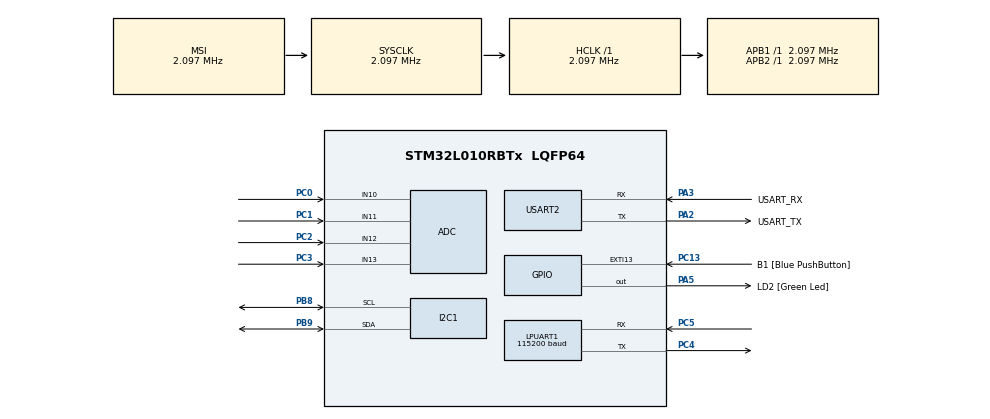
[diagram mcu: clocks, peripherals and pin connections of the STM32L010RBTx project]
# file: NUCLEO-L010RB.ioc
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Dma.Request0=USART2_RX
Dma.Request1=USART2_TX
Dma.USART2_RX.0.Direction=DMA_PERIPH_TO_MEMORY
Dma.USART2_RX.0.Instance=DMA1_Channel5
Dma.USART2_RX.0.MemDataAlignment=DMA_MDATAALIGN_BYTE
Dma.USART2_RX.0.MemInc=DMA_MINC_ENABLE
Dma.USART2_RX.0.Mode=DMA_NORMAL
Dma.USART2_RX.0.PeriphDataAlignment=DMA_PDATAALIGN_BYTE
Dma.USART2_RX.0.PeriphInc=DMA_PINC_DISABLE
Dma.USART2_RX.0.Priority=DMA_PRIORITY_LOW
Dma.USART2_TX.1.Direction=DMA_MEMORY_TO_PERIPH
Dma.USART2_TX.1.Instance=DMA1_Channel4
Dma.USART2_TX.1.MemDataAlignment=DMA_MDATAALIGN_BYTE
Dma.USART2_TX.1.MemInc=DMA_MINC_ENABLE
Dma.USART2_TX.1.Mode=DMA_NORMAL
Dma.USART2_TX.1.PeriphDataAlignment=DMA_PDATAALIGN_BYTE
Dma.USART2_TX.1.PeriphInc=DMA_PINC_DISABLE
Dma.USART2_TX.1.Priority=DMA_PRIORITY_LOW
LPUART1.BaudRate=115200
LPUART1.OneBitSampling=UART_ONE_BIT_SAMPLE_DISABLE
LPUART1.WordLength=UART_WORDLENGTH_8B
Mcu.Family=STM32L0
Mcu.Name=STM32L010RBTx
Mcu.Package=LQFP64
NVIC.DMA1_Channel4_5_6_7_IRQn=true\:0\:0\:false\:false\:true\:false\:true
NVIC.I2C1_IRQn=true\:0\:0\:false\:false\:true\:true\:true
NVIC.USART2_IRQn=true\:0\:0\:false\:false\:true\:true\:true
PA13.GPIO_Label=TMS
PA13.Mode=Serial_Wire
PA13.Signal=SYS_SWDIO
PA14.GPIO_Label=TCK
PA14.Mode=Serial_Wire
PA14.Signal=SYS_SWCLK
PA2.GPIO_Label=USART_TX
PA2.Mode=Asynchronous
PA2.Signal=USART2_TX
PA3.GPIO_Label=USART_RX
PA3.Mode=Asynchronous
PA3.Signal=USART2_RX
PA5.GPIO_Label=LD2 [Green Led]
PA5.Signal=GPIO_Output
PB10.Signal=S_TIM2_CH3
PB3.Signal=S_TIM2_CH2
PB4.Signal=S_TIM22_CH1
PB8.Mode=I2C
PB8.Signal=I2C1_SCL
PB9.Mode=I2C
PB9.Signal=I2C1_SDA
PC0.Mode=IN10
PC0.Signal=ADC_IN10
PC1.Mode=IN11
PC1.Signal=ADC_IN11
PC13.GPIO_Label=B1 [Blue PushButton]
PC13.GPIO_ModeDefaultEXTI=GPIO_MODE_IT_FALLING
PC13.Signal=GPXTI13
PC14-OSC32_IN.Mode=LSE-External-Oscillator
PC14-OSC32_IN.Signal=RCC_OSC32_IN
PC15-OSC32_OUT.Mode=LSE-External-Oscillator
PC15-OSC32_OUT.Signal=RCC_OSC32_OUT
PC2.Mode=IN12
PC2.Signal=ADC_IN12
PC3.Mode=IN13
PC3.Signal=ADC_IN13
PC4.Mode=Asynchronous
PC4.Signal=LPUART1_TX
PC5.Mode=Asynchronous
PC5.Signal=LPUART1_RX
PH0-OSC_IN.GPIO_Label=MCO
PH0-OSC_IN.Mode=HSE-External-Clock-Source
PH0-OSC_IN.Signal=RCC_OSC_IN
ProjectManager.HeapSize=0x200
ProjectManager.StackSize=0x400
ProjectManager.TargetToolchain=STM32CubeIDE
RCC.AHBFreq_Value=2097000
RCC.APB1Freq_Value=2097000
RCC.APB1TimFreq_Value=2097000
RCC.APB2Freq_Value=2097000
RCC.APB2TimFreq_Value=2097000
RCC.HSE_VALUE=8000000
RCC.HSI16_VALUE=16000000
RCC.HSI48_VALUE=48000000
RCC.HSI_VALUE=16000000
RCC.MSI_VALUE=2097000
RCC.SYSCLKFreq_VALUE=2097000
RCC.VCOOutputFreq_Value=48000000
SH.S_TIM22_CH1.0=TIM22_CH1
SH.S_TIM2_CH2.0=TIM2_CH2
SH.S_TIM2_CH3.0=TIM2_CH3
USART2.VirtualMode-Asynchronous=VM_ASYNC
board=NUCLEO-L010RB

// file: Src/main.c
/* USER CODE BEGIN Header */
/**
  ******************************************************************************
  * @file           : main.c
  * @brief          : Main program body
  ******************************************************************************
  * @attention
  *
  * <h2><center>&copy; Copyright (c) 2019 STMicroelectronics.
  * All rights reserved.</center></h2>
  *
  * This software component is licensed by ST under BSD 3-Clause license,
  * the "License"; You may not use this file except in compliance with the
  * License. You may obtain a copy of the License at:
  *                        opensource.org/licenses/BSD-3-Clause
  *
  ******************************************************************************
  */
/* USER CODE END Header */

#include "main.h"
#include "stdio.h"

/* USER CODE BEGIN PD */
#ifdef __GNUC__
#define PUTCHAR_PROTOTYPE int __io_putchar(int ch)
#else
#define PUTCHAR_PROTOTYPE int fputc(int ch, FILE*f)
#endif
/* USER CODE END PD */

ADC_HandleTypeDef hadc;

I2C_HandleTypeDef hi2c1;

UART_HandleTypeDef hlpuart1;
UART_HandleTypeDef huart2;
DMA_HandleTypeDef hdma_usart2_rx;
DMA_HandleTypeDef hdma_usart2_tx;

/* USER CODE BEGIN PV */
HAL_StatusTypeDef uart_statu;
uint8_t uart_data[10];
uint32_t rev_size = 0;
uint8_t uart_rx_buf[15];
/* USER CODE END PV */

void SystemClock_Config(void);
static void MX_GPIO_Init(void);
static void MX_DMA_Init(void);
static void MX_USART2_UART_Init(void);
static void MX_ADC_Init(void);
static void MX_I2C1_Init(void);
static void MX_LPUART1_UART_Init(void);

/* USER CODE BEGIN 0 */
PUTCHAR_PROTOTYPE
{
	HAL_UART_Transmit(&huart2, (uint8_t *)&ch, 1, 0xFFFF);
	return ch;
}
/* USER CODE END 0 */

int main(void)
{

  /* MCU Configuration--------------------------------------------------------*/

  /* Reset of all peripherals, Initializes the Flash interface and the Systick. */
  HAL_Init();

  /* Configure the system clock */
  SystemClock_Config();

  /* Initialize all configured peripherals */
  MX_GPIO_Init();
  MX_DMA_Init();
  MX_USART2_UART_Init();
  MX_ADC_Init();
  MX_I2C1_Init();
  MX_LPUART1_UART_Init();
  /* USER CODE BEGIN 2 */

//  uart_statu = HAL_UART_Receive_IT(&huart2, uart_data, 1);

  printf("This is a test\n\r");

  HAL_UART_Receive_DMA(&huart2, uart_rx_buf, 15);
  /* USER CODE END 2 */

  /* Infinite loop */
  /* USER CODE BEGIN WHILE */
  while (1)
  {
//	  HAL_GPIO_TogglePin(LD2_GPIO_Port, LD2_Pin);
//	  HAL_Delay(5000);
    /* USER CODE END WHILE */

  }
}

void SystemClock_Config(void)
{
  RCC_OscInitTypeDef RCC_OscInitStruct = {0};
  RCC_ClkInitTypeDef RCC_ClkInitStruct = {0};
  RCC_PeriphCLKInitTypeDef PeriphClkInit = {0};

  /** Configure the main internal regulator output voltage
  */
  __HAL_PWR_VOLTAGESCALING_CONFIG(PWR_REGULATOR_VOLTAGE_SCALE1);
  /** Initializes the CPU, AHB and APB busses clocks
  */
  RCC_OscInitStruct.OscillatorType = RCC_OSCILLATORTYPE_MSI;
  RCC_OscInitStruct.MSIState = RCC_MSI_ON;
  RCC_OscInitStruct.MSICalibrationValue = 0;
  RCC_OscInitStruct.MSIClockRange = RCC_MSIRANGE_5;
  RCC_OscInitStruct.PLL.PLLState = RCC_PLL_NONE;
  if (HAL_RCC_OscConfig(&RCC_OscInitStruct) != HAL_OK)
  {
    Error_Handler();
  }
  /** Initializes the CPU, AHB and APB busses clocks
  */
  RCC_ClkInitStruct.ClockType = RCC_CLOCKTYPE_HCLK|RCC_CLOCKTYPE_SYSCLK
                              |RCC_CLOCKTYPE_PCLK1|RCC_CLOCKTYPE_PCLK2;
  RCC_ClkInitStruct.SYSCLKSource = RCC_SYSCLKSOURCE_MSI;
  RCC_ClkInitStruct.AHBCLKDivider = RCC_SYSCLK_DIV1;
  RCC_ClkInitStruct.APB1CLKDivider = RCC_HCLK_DIV1;
  RCC_ClkInitStruct.APB2CLKDivider = RCC_HCLK_DIV1;

  if (HAL_RCC_ClockConfig(&RCC_ClkInitStruct, FLASH_LATENCY_0) != HAL_OK)
  {
    Error_Handler();
  }
  PeriphClkInit.PeriphClockSelection = RCC_PERIPHCLK_USART2|RCC_PERIPHCLK_LPUART1
                              |RCC_PERIPHCLK_I2C1;
  PeriphClkInit.Usart2ClockSelection = RCC_USART2CLKSOURCE_PCLK1;
  PeriphClkInit.Lpuart1ClockSelection = RCC_LPUART1CLKSOURCE_PCLK1;
  PeriphClkInit.I2c1ClockSelection = RCC_I2C1CLKSOURCE_PCLK1;
  if (HAL_RCCEx_PeriphCLKConfig(&PeriphClkInit) != HAL_OK)
  {
    Error_Handler();
  }
}

static void MX_ADC_Init(void)
{

  ADC_ChannelConfTypeDef sConfig = {0};

  /** Configure the global features of the ADC (Clock, Resolution, Data Alignment and number of conversion)
  */
  hadc.Instance = ADC1;
  hadc.Init.OversamplingMode = DISABLE;
  hadc.Init.ClockPrescaler = ADC_CLOCK_SYNC_PCLK_DIV1;
  hadc.Init.Resolution = ADC_RESOLUTION_12B;
  hadc.Init.SamplingTime = ADC_SAMPLETIME_1CYCLE_5;
  hadc.Init.ScanConvMode = ADC_SCAN_DIRECTION_FORWARD;
  hadc.Init.DataAlign = ADC_DATAALIGN_RIGHT;
  hadc.Init.ContinuousConvMode = DISABLE;
  hadc.Init.DiscontinuousConvMode = DISABLE;
  hadc.Init.ExternalTrigConvEdge = ADC_EXTERNALTRIGCONVEDGE_NONE;
  hadc.Init.ExternalTrigConv = ADC_SOFTWARE_START;
  hadc.Init.DMAContinuousRequests = DISABLE;
  hadc.Init.EOCSelection = ADC_EOC_SINGLE_CONV;
  hadc.Init.Overrun = ADC_OVR_DATA_PRESERVED;
  hadc.Init.LowPowerAutoWait = DISABLE;
  hadc.Init.LowPowerFrequencyMode = DISABLE;
  hadc.Init.LowPowerAutoPowerOff = DISABLE;
  if (HAL_ADC_Init(&hadc) != HAL_OK)
  {
    Error_Handler();
  }
  /** Configure for the selected ADC regular channel to be converted.
  */
  sConfig.Channel = ADC_CHANNEL_10;
  sConfig.Rank = ADC_RANK_CHANNEL_NUMBER;
  if (HAL_ADC_ConfigChannel(&hadc, &sConfig) != HAL_OK)
  {
    Error_Handler();
  }
  /** Configure for the selected ADC regular channel to be converted.
  */
  sConfig.Channel = ADC_CHANNEL_11;
  if (HAL_ADC_ConfigChannel(&hadc, &sConfig) != HAL_OK)
  {
    Error_Handler();
  }
  /** Configure for the selected ADC regular channel to be converted.
  */
  sConfig.Channel = ADC_CHANNEL_12;
  if (HAL_ADC_ConfigChannel(&hadc, &sConfig) != HAL_OK)
  {
    Error_Handler();
  }
  /** Configure for the selected ADC regular channel to be converted.
  */
  sConfig.Channel = ADC_CHANNEL_13;
  if (HAL_ADC_ConfigChannel(&hadc, &sConfig) != HAL_OK)
  {
    Error_Handler();
  }

}

static void MX_I2C1_Init(void)
{

  hi2c1.Instance = I2C1;
  hi2c1.Init.Timing = 0x00000708;
  hi2c1.Init.OwnAddress1 = 0;
  hi2c1.Init.AddressingMode = I2C_ADDRESSINGMODE_7BIT;
  hi2c1.Init.DualAddressMode = I2C_DUALADDRESS_DISABLE;
  hi2c1.Init.OwnAddress2 = 0;
  hi2c1.Init.OwnAddress2Masks = I2C_OA2_NOMASK;
  hi2c1.Init.GeneralCallMode = I2C_GENERALCALL_DISABLE;
  hi2c1.Init.NoStretchMode = I2C_NOSTRETCH_DISABLE;
  if (HAL_I2C_Init(&hi2c1) != HAL_OK)
  {
    Error_Handler();
  }
  /** Configure Analogue filter
  */
  if (HAL_I2CEx_ConfigAnalogFilter(&hi2c1, I2C_ANALOGFILTER_ENABLE) != HAL_OK)
  {
    Error_Handler();
  }
  /** Configure Digital filter
  */
  if (HAL_I2CEx_ConfigDigitalFilter(&hi2c1, 0) != HAL_OK)
  {
    Error_Handler();
  }

}

static void MX_LPUART1_UART_Init(void)
{

  hlpuart1.Instance = LPUART1;
  hlpuart1.Init.BaudRate = 115200;
  hlpuart1.Init.WordLength = UART_WORDLENGTH_8B;
  hlpuart1.Init.StopBits = UART_STOPBITS_1;
  hlpuart1.Init.Parity = UART_PARITY_NONE;
  hlpuart1.Init.Mode = UART_MODE_TX_RX;
  hlpuart1.Init.HwFlowCtl = UART_HWCONTROL_NONE;
  hlpuart1.Init.OneBitSampling = UART_ONE_BIT_SAMPLE_DISABLE;
  hlpuart1.AdvancedInit.AdvFeatureInit = UART_ADVFEATURE_NO_INIT;
  if (HAL_UART_Init(&hlpuart1) != HAL_OK)
  {
    Error_Handler();
  }

}

static void MX_USART2_UART_Init(void)
{

  huart2.Instance = USART2;
  huart2.Init.BaudRate = 115200;
  huart2.Init.WordLength = UART_WORDLENGTH_8B;
  huart2.Init.StopBits = UART_STOPBITS_1;
  huart2.Init.Parity = UART_PARITY_NONE;
  huart2.Init.Mode = UART_MODE_TX_RX;
  huart2.Init.HwFlowCtl = UART_HWCONTROL_NONE;
  huart2.Init.OverSampling = UART_OVERSAMPLING_16;
  huart2.Init.OneBitSampling = UART_ONE_BIT_SAMPLE_DISABLE;
  huart2.AdvancedInit.AdvFeatureInit = UART_ADVFEATURE_NO_INIT;
  if (HAL_UART_Init(&huart2) != HAL_OK)
  {
    Error_Handler();
  }

}

static void MX_DMA_Init(void)
{

  /* DMA controller clock enable */
  __HAL_RCC_DMA1_CLK_ENABLE();

  /* DMA interrupt init */
  /* DMA1_Channel4_5_6_7_IRQn interrupt configuration */
  HAL_NVIC_SetPriority(DMA1_Channel4_5_6_7_IRQn, 0, 0);
  HAL_NVIC_EnableIRQ(DMA1_Channel4_5_6_7_IRQn);

}

static void MX_GPIO_Init(void)
{
  GPIO_InitTypeDef GPIO_InitStruct = {0};

  /* GPIO Ports Clock Enable */
  __HAL_RCC_GPIOC_CLK_ENABLE();
  __HAL_RCC_GPIOH_CLK_ENABLE();
  __HAL_RCC_GPIOA_CLK_ENABLE();
  __HAL_RCC_GPIOB_CLK_ENABLE();

  /*Configure GPIO pin Output Level */
  HAL_GPIO_WritePin(LD2_GPIO_Port, LD2_Pin, GPIO_PIN_RESET);

  /*Configure GPIO pin : B1_Pin */
  GPIO_InitStruct.Pin = B1_Pin;
  GPIO_InitStruct.Mode = GPIO_MODE_IT_FALLING;
  GPIO_InitStruct.Pull = GPIO_NOPULL;
  HAL_GPIO_Init(B1_GPIO_Port, &GPIO_InitStruct);

  /*Configure GPIO pin : LD2_Pin */
  GPIO_InitStruct.Pin = LD2_Pin;
  GPIO_InitStruct.Mode = GPIO_MODE_OUTPUT_PP;
  GPIO_InitStruct.Pull = GPIO_NOPULL;
  GPIO_InitStruct.Speed = GPIO_SPEED_FREQ_LOW;
  HAL_GPIO_Init(LD2_GPIO_Port, &GPIO_InitStruct);

  /*Configure GPIO pins : PB10 PB3 */
  GPIO_InitStruct.Pin = GPIO_PIN_10|GPIO_PIN_3;
  GPIO_InitStruct.Mode = GPIO_MODE_AF_PP;
  GPIO_InitStruct.Pull = GPIO_NOPULL;
  GPIO_InitStruct.Speed = GPIO_SPEED_FREQ_LOW;
  GPIO_InitStruct.Alternate = GPIO_AF2_TIM2;
  HAL_GPIO_Init(GPIOB, &GPIO_InitStruct);

  /*Configure GPIO pin : PB4 */
  GPIO_InitStruct.Pin = GPIO_PIN_4;
  GPIO_InitStruct.Mode = GPIO_MODE_AF_PP;
  GPIO_InitStruct.Pull = GPIO_NOPULL;
  GPIO_InitStruct.Speed = GPIO_SPEED_FREQ_LOW;
  GPIO_InitStruct.Alternate = GPIO_AF4_TIM22;
  HAL_GPIO_Init(GPIOB, &GPIO_InitStruct);

}

/* USER CODE BEGIN 4 */
void HAL_UART_RxCpltCallback(UART_HandleTypeDef *huart)
{
  /* Prevent unused argument(s) compilation warning */
  UNUSED(huart);

  /* NOTE : This function should not be modified, when the callback is needed,
            the HAL_UART_RxCpltCallback can be implemented in the user file.
   */
  if (uart_statu == HAL_OK) {
	  uart_statu = HAL_UART_Transmit_IT(&huart2, uart_data, 1);
	  HAL_GPIO_TogglePin(LD2_GPIO_Port, LD2_Pin);
  }

  uart_statu = HAL_UART_Receive_IT(&huart2, uart_data, 1);

}

void HAL_UART_AbortReceiveCpltCallback(UART_HandleTypeDef *huart)
{
  /* Prevent unused argument(s) compilation warning */
//  UNUSED(huart);

//  printf("\n\r[IDLE]Received %d Bytes:", rev_size);
  for(uint16_t i = 0; i < rev_size; i++) {
//	  printf(" 0x%02X", uart_rx_buf[i]);
	  HAL_UART_Transmit(&huart2, (uint8_t *)&uart_rx_buf[i], 1, 0xFFFF);
  }

  /* NOTE : This function should not be modified, when the callback is needed,
            the HAL_UART_AbortReceiveCpltCallback can be implemented in the user file.
   */
  HAL_UART_Receive_DMA(&huart2, uart_rx_buf, 15);
}
/* USER CODE END 4 */

void Error_Handler(void)
{
}

/************************ (C) COPYRIGHT STMicroelectronics *****END OF FILE****/
